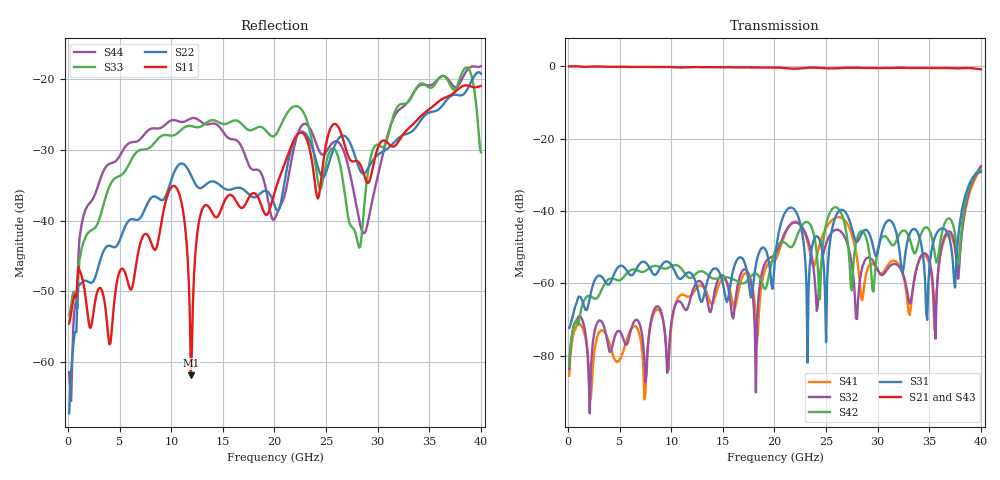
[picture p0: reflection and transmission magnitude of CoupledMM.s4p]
! File created by SignalIntegrity v1.3.3: Signal and Power Integrity Tools
! https://github.com/TeledyneLeCroy/SignalIntegrity
# MHz S MA R 50.0
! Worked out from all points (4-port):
!   400 points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, 100 MHz to 40 GHz, reference 50 ohm
!   strongest paths, dB at 100 MHz, 10.1 GHz, 20.1 GHz, 30.1 GHz, 40 GHz:
!     S21: -0.1, -0.3, -0.4, -0.5, -0.9
!     S43: 0.0, -0.3, -0.4, -0.5, -2.0
!     S31: -72.4, -55.4, -52.1, -49.9, -29.3
!     S42: -83.0, -55.2, -50.8, -49.6, -28.7
!     S32: -83.6, -69.1, -51.9, -56.9, -27.6
!     S41: -85.5, -69.8, -53.3, -56.8, -28.2
!   lowest |S11| = -61.8 dB at 11.9 GHz (marker M1), VSWR 1.00, Z = 50 - j0.0807 ohm
!   |S11| at or under -10 dB: start of sweep to end of sweep
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100  0.00188 -172.1  0.992 -1.8  0.000241 10.9  5.3e-05 115.5
     0.992 -1.8  0.000435 -154.7  6.6e-05 45.2  7.1e-05 125.1
     0.000241 10.9  6.6e-05 45.2  0.00214 176.2  0.9957 -1.8
     5.3e-05 115.5  7.1e-05 125.1  0.9957 -1.8  0.00085 4.9
11900  0.000809 -85.9  0.9668 148.9  0.00138 -128.3  0.000673 65.9
       0.9668 148.9  0.02106 -52.6  0.000648 89.3  0.001189 -119.6
       0.00138 -128.3  0.000648 89.3  0.04679 103.2  0.9677 148.3
       0.000673 65.9  0.001189 -119.6  0.9677 148.3  0.05287 -5.4
21800  0.03599 160.4  0.9222 -27.4  0.01085 -9.1  0.00698 -39.5
       0.9222 -27.4  0.03544 100.1  0.006824 -45.0  0.00333 -59.5
       0.01085 -9.1  0.006824 -45.0  0.06384 166.3  0.9076 -26.7
       0.00698 -39.5  0.00333 -59.5  0.9076 -26.7  0.03069 118.2
23200  0.03643 62.5  0.9495 -51.0  8e-05 152.2  0.003746 153.4
       0.9495 -51.0  0.03942 24.0  0.004135 154.5  0.007001 122.0
       8e-05 152.2  0.004135 154.5  0.04954 64.7  0.9451 -49.5
       0.003746 153.4  0.007001 122.0  0.9451 -49.5  0.0475 23.6
25700  0.04804 51.3  0.9298 -95.7  0.006663 2.2  0.007706 79.7
       0.9298 -95.7  0.03203 -10.4  0.005263 54.8  0.01096 66.4
       0.006663 2.2  0.005263 54.8  0.03254 30.5  0.9342 -95.2
       0.007706 79.7  0.01096 66.4  0.9342 -95.2  0.03594 -15.8
35600  0.06682 25.6  0.9367 86.4  0.004543 97.6  0.000266 34.0
       0.9367 86.4  0.05965 -18.5  0.000172 80.9  0.002226 -86.5
       0.004543 97.6  0.000172 80.9  0.09336 15.8  0.9535 87.4
       0.000266 34.0  0.002226 -86.5  0.9535 87.4  0.09597 -0.9
40000  0.08973 -16.7  0.9065 6.3  0.0344 150.1  0.0388 139.9
       0.9065 6.3  0.1097 -154.0  0.04153 150.1  0.03685 138.3
       0.0344 150.1  0.04153 150.1  0.03055 162.4  0.7968 13.9
       0.0388 139.9  0.03685 138.3  0.7968 13.9  0.1239 162.1
